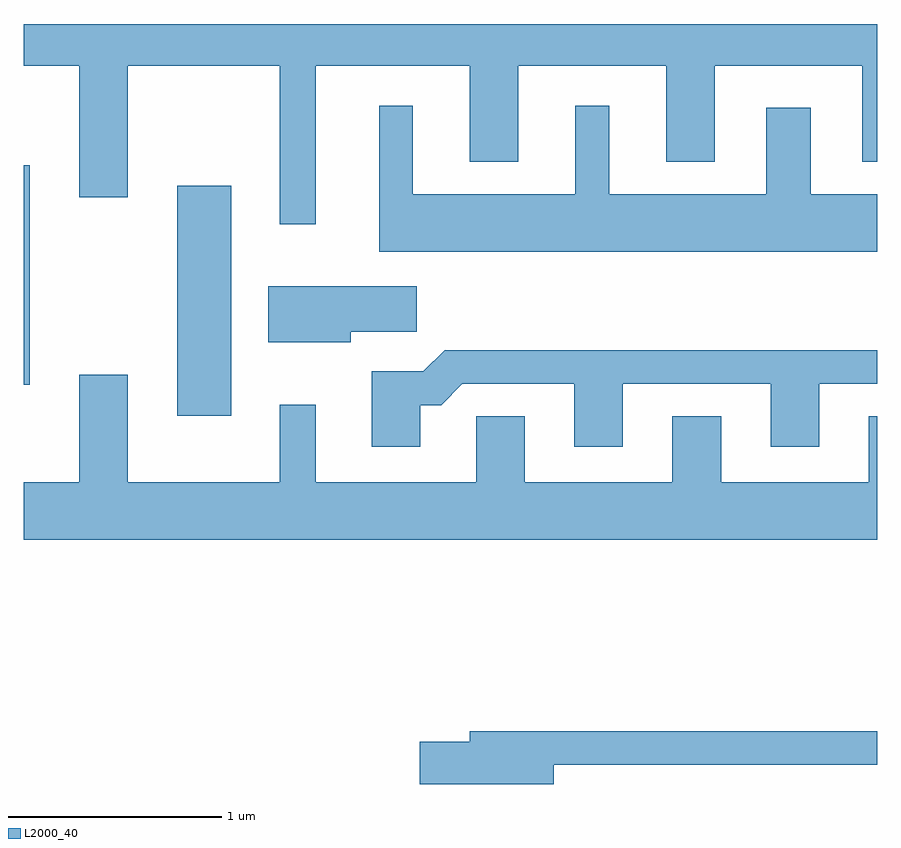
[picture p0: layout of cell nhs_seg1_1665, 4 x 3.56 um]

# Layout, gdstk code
import gdstk
lib = gdstk.Library(unit=1e-6, precision=1e-09)
def R(c, l, rs):  # rectangles x0, y0, x1, y1
    for r in rs: c.add(gdstk.rectangle(r[:2], r[2:], *l))
def P(c, l, *ps):  # polygons
    for p in ps: c.add(gdstk.Polygon(p, *l))
L2000_40 = (2000, 40)

nhs_seg1_1665 = lib.new_cell('nhs_seg1_1665')
R(nhs_seg1_1665, L2000_40, [(236.331,957.876,236.584,958.954), (235.611,958.021,235.639,959.049)])
P(nhs_seg1_1665, L2000_40, [(235.611,959.516),(235.871,959.516),(235.871,958.901),(236.099,958.901),(236.099,959.516),(236.811,959.516),(236.811,958.773),(236.979,958.773),(236.979,959.516),(237.701,959.516),(237.701,959.066),(237.929,959.066),(237.929,959.516),(238.621,959.516),(238.621,959.066),(238.849,959.066),(238.849,959.516),(239.541,959.516),(239.541,959.066),(239.611,959.066),(239.611,959.712),(235.611,959.712)],
  [(239.611,958.914),(239.299,958.914),(239.299,959.319),(239.091,959.319),(239.091,958.914),(238.354,958.914),(238.354,959.328),(238.196,959.328),(238.196,958.914),(237.434,958.914),(237.434,959.328),(237.276,959.328),(237.276,958.646),(239.611,958.646)],
  [(237.144,958.271),(237.454,958.271),(237.454,958.484),(236.756,958.484),(236.756,958.221),(237.144,958.221)],
  [(237.469,957.926),(237.567,957.926),(237.667,958.026),(238.191,958.026),(238.191,957.731),(238.419,957.731),(238.419,958.026),(239.111,958.026),(239.111,957.731),(239.339,957.731),(239.339,958.026),(239.611,958.026),(239.611,958.184),(237.584,958.184),(237.484,958.084),(237.241,958.084),(237.241,957.731),(237.469,957.731)],
  [(239.611,957.874),(239.571,957.874),(239.571,957.564),(238.879,957.564),(238.879,957.874),(238.651,957.874),(238.651,957.564),(237.959,957.564),(237.959,957.874),(237.731,957.874),(237.731,957.564),(236.979,957.564),(236.979,957.928),(236.811,957.928),(236.811,957.564),(236.099,957.564),(236.099,958.069),(235.871,958.069),(235.871,957.564),(235.611,957.564),(235.611,957.296),(239.611,957.296)],
  [(238.094,956.241),(239.611,956.241),(239.611,956.399),(237.701,956.399),(237.701,956.349),(237.466,956.349),(237.466,956.151),(238.094,956.151)])

lib.write_gds('nhs_seg1_1665.gds')
